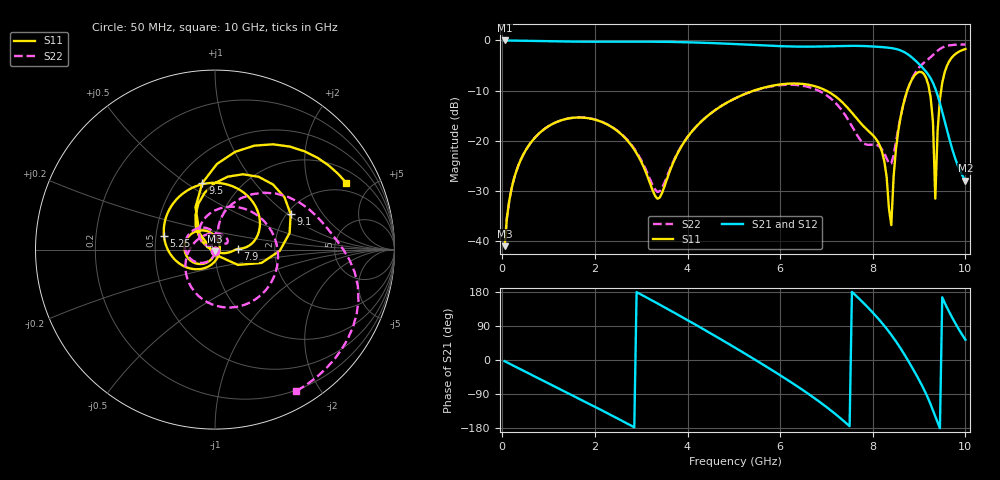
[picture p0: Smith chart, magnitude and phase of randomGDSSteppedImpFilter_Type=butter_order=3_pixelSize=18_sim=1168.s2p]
! freq	dB(S11)	phase(S11)	dB(S12)	phase(S12)
!  dB(S21)	phase(S21)	dB(S22)	phase(S22)
!S-par simulation data
#  GHz  S  DB  R 50
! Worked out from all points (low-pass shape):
!   200 points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, 50 MHz to 10 GHz, reference 50 ohm
!   highest |S21| = -0.01 dB at 50 MHz (marker M1); lowest = -27.9 dB at 10 GHz (marker M2)
!   |S21| within 3 dB of the highest: start of sweep to 8.794 GHz
!   lowest |S11| = -40.9 dB at 50 MHz (marker M3), VSWR 1.02, Z = 50 - j0.897 ohm
!   |S11| at or under -10 dB: start of sweep to 5.434 GHz; 6.995 GHz to 8.744 GHz (1.749 GHz wide, 22.2 % of centre); 9.223 GHz to 9.476 GHz (253.3 MHz wide, 2.71 % of centre)
!   |S22| runs from -41.0 to -0.8 dB; largest |S21 - S12| = 0
!   S11 on the Smith chart (normalised r, x): 50 MHz: 1.00, -0.02; 5.25 GHz: 0.55, +0.09; 7.9 GHz: 1.29, +0.01; 9.1 GHz: 2.10, +1.06; 9.5 GHz: 0.67, +0.58; 10 GHz: 1.55, +3.53
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0.05  -40.94 -86.9  -0.01 -3.2  -0.01 -3.2  -40.95 -87.1
0.5  -21.95 -119.8  -0.07 -31.1  -0.07 -31.1  -21.96 -122.8
1.75  -15.37 166.7  -0.26 -108.0  -0.26 -108.0  -15.36 156.0
2.65  -19.41 110.3  -0.26 -164.6  -0.26 -164.6  -19.31 100.4
3.4  -31.29 -20.9  -0.28 146.0  -0.28 146.0  -30.03 127.8
4.25  -16.56 -132.5  -0.44 87.8  -0.44 87.8  -16.55 124.7
5.05  -11.44 177.7  -0.74 30.8  -0.74 30.8  -11.44 61.8
5.25  -10.62 165.0  -0.83 16.2  -0.83 16.2  -10.64 45.5
5.9  -8.91 121.4  -1.11 -32.5  -1.11 -32.5  -9.02 -7.3
6.7  -9.00 62.5  -1.24 -97.1  -1.24 -97.1  -9.52 -74.9
7.4  -12.85 13.3  -1.09 -163.9  -1.09 -163.9  -14.80 -154.7
7.9  -17.97 1.5  -1.16 138.1  -1.16 138.1  -20.79 86.9
8.2  -22.17 -12.1  -1.34 97.4  -1.34 97.4  -21.68 30.5
8.35  -33.53 -47.2  -1.47 74.6  -1.47 74.6  -24.49 38.6
8.4  -36.77 -155.3  -1.53 66.4  -1.53 66.4  -24.48 54.5
8.5  -21.71 148.1  -1.71 49.2  -1.71 49.2  -20.24 79.3
8.7  -11.30 109.9  -2.43 11.2  -2.43 11.2  -11.40 69.8
9.1  -6.64 25.2  -5.69 -76.3  -5.69 -76.3  -4.47 17.9
9.3  -16.27 -33.7  -8.45 -132.8  -8.45 -132.8  -2.91 0.0
9.35  -31.50 -92.6  -9.57 -148.7  -9.57 -148.7  -2.48 -4.4
9.5  -8.45 100.7  -14.19 165.4  -14.19 165.4  -1.44 -19.5
10  -1.72 27.0  -27.89 53.5  -27.89 53.5  -0.83 -60.1
